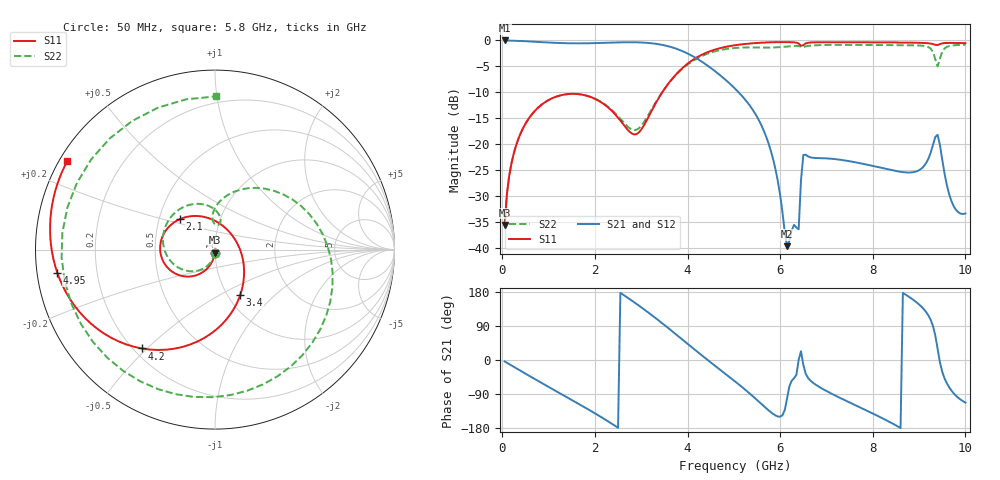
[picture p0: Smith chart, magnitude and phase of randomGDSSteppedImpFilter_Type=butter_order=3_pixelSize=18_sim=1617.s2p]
! freq	dB(S11)	phase(S11)	dB(S12)	phase(S12)
!  dB(S21)	phase(S21)	dB(S22)	phase(S22)
!S-par simulation data
#  GHz  S  DB  R 50
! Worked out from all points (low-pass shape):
!   200 points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, 50 MHz to 10 GHz, reference 50 ohm
!   highest |S21| = -0.01 dB at 50 MHz (marker M1); lowest = -39.6 dB at 6.15 GHz (marker M2)
!   |S21| within 3 dB of the highest: start of sweep to 4.107 GHz
!   lowest |S11| = -35.5 dB at 50 MHz (marker M3), VSWR 1.03, Z = 49.9 - j1.66 ohm
!   |S11| at or under -10 dB: start of sweep to 3.454 GHz
!   |S22| runs from -35.6 to -0.8 dB; largest |S21 - S12| = 0
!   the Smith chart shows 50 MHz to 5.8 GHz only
!   S11 on the Smith chart (normalised r, x): 50 MHz: 1.00, -0.03; 2.1 GHz: 0.64, +0.23; 3.4 GHz: 1.14, -0.63; 4.2 GHz: 0.23, -0.48; 4.95 GHz: 0.06, -0.07; 5.8 GHz: 0.02, +0.28
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0.05  -35.54 -93.2  -0.01 -3.7  -0.01 -3.7  -35.61 -94.5
0.2  -23.58 -102.8  -0.05 -14.6  -0.05 -14.6  -23.60 -106.6
0.5  -16.05 -121.7  -0.16 -36.1  -0.16 -36.1  -16.06 -131.0
1.75  -10.49 163.0  -0.57 -122.8  -0.57 -122.8  -10.49 130.9
2.1  -11.72 139.3  -0.50 -148.0  -0.50 -148.0  -11.67 104.7
2.75  -17.60 61.3  -0.35 160.7  -0.35 160.7  -16.91 80.7
3.4  -10.77 -60.9  -0.77 102.1  -0.77 102.1  -10.68 80.5
4.2  -3.28 -126.5  -3.49 22.9  -3.49 22.9  -3.50 -11.2
4.95  -1.03 -171.6  -8.63 -49.2  -8.63 -49.2  -1.52 -112.3
5.05  -0.90 -176.7  -9.50 -58.9  -9.50 -58.9  -1.44 -127.2
5.45  -0.52 164.4  -13.95 -100.0  -13.95 -100.0  -1.36 164.0
5.8  -0.36 149.1  -21.29 -137.8  -21.29 -137.8  -1.38 89.6
6.15  -0.33 134.4  -39.62 -100.5  -39.62 -100.5  -1.18 15.3
6.4  -0.60 123.0  -36.37 0.1  -36.37 0.1  -1.06 -28.9
6.5  -0.94 124.1  -22.08 -12.6  -22.08 -12.6  -1.31 -42.3
6.7  -0.38 115.7  -22.60 -59.2  -22.60 -59.2  -0.97 -67.9
7.55  -0.36 84.0  -23.34 -115.0  -23.34 -115.0  -0.86 -151.6
8.35  -0.39 54.6  -24.87 -162.6  -24.87 -162.6  -0.91 139.8
8.95  -0.45 32.0  -25.19 151.8  -25.19 151.8  -0.95 84.3
9.4  -0.89 16.6  -18.18 29.3  -18.18 29.3  -5.02 48.4
9.55  -0.51 11.3  -25.65 -48.4  -25.65 -48.4  -1.55 45.4
10  -0.54 -6.9  -33.32 -112.6  -33.32 -112.6  -0.84 -0.4
